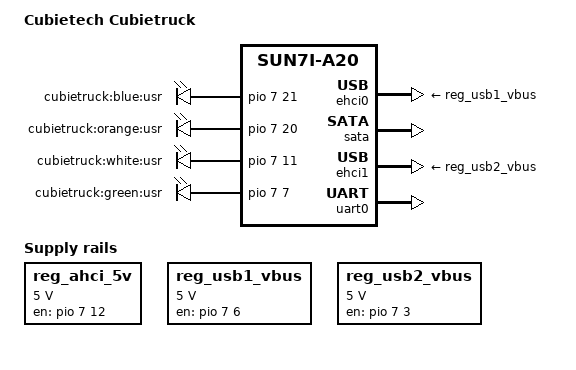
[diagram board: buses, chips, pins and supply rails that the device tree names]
/*
 * Copyright 2013 Oliver Schinagl
 *
 * Oliver Schinagl <oliver@schinagl.nl>
 *
 * The code contained herein is licensed under the GNU General Public
 * License. You may obtain a copy of the GNU General Public License
 * Version 2 or later at the following locations:
 *
 * http://www.opensource.org/licenses/gpl-license.html
 * http://www.gnu.org/copyleft/gpl.html
 */

/dts-v1/;
/include/ "sun7i-a20.dtsi"

/ {
	model = "Cubietech Cubietruck";
	compatible = "cubietech,cubietruck", "allwinner,sun7i-a20";

	soc@01c00000 {
		sdc0: sdc@01c0f000 {
			pinctrl-names = "default";
			pinctrl-0 = <&sdc0_pins_a>;
			pinctrl-1 = <&mmc0_cd_pin_cubietruck>;
			cd-gpios = <&pio 7 1 0>; /* PH1 */
			cd-mode = <1>;
			status = "okay";
		};

		ehci0: ehci0@0x01c14000 {
			vbus-supply = <&reg_usb1_vbus>;
			status = "okay";
		};

		sata: ahci@01c18000 {
			pwr-supply = <&reg_ahci_5v>;
			status = "okay";
		};

		ehci1: ehci1@0x01c1c000 {
			vbus-supply = <&reg_usb2_vbus>;
			status = "okay";
		};

		pinctrl@01c20800 {
			mmc0_cd_pin_cubietruck: mmc0_cd_pin@0 {
				allwinner,pins = "PH1";
				allwinner,function = "gpio_in";
				allwinner,drive = <0>;
				allwinner,pull = <0>;
			};

			ahci_pwr_pin_cubietruck: ahci_pwr_pin@0 {
				allwinner,pins = "PH12";
			 	allwinner,function = "gpio_out";
				allwinner,drive = <0>;
				allwinner,pull = <0>;
			};

			led_pins_cubietruck: led_pins@0 {
				allwinner,pins = "PH7", "PH11", "PH20", "PH21";
				allwinner,function = "gpio_out";
				allwinner,drive = <0>;
				allwinner,pull = <0>;
			};

			usb1_vbus_pin: usb1_vbus_pin@0 {
					allwinner,pins = "PH6";
					allwinner,function = "gpio_out";
					allwinner,drive = <0>;
					allwinner,pull = <2>;
			};

			usb2_vbus_pin: usb2_vbus_pin@0 {
					allwinner,pins = "PH3";
					allwinner,function = "gpio_out";
					allwinner,drive = <0>;
					allwinner,pull = <2>;
			};
		};

		uart0: serial@01c28000 {
			pinctrl-names = "default";
			pinctrl-0 = <&uart0_pins_a>;
			status = "okay";
		};
	};

	leds {
		compatible = "gpio-leds";
		pinctrl-names = "default";
		pinctrl-0 = <&led_pins_cubietruck>;

		blue {
			label = "cubietruck:blue:usr";
			gpios = <&pio 7 21 0>;
		};

		orange {
			label = "cubietruck:orange:usr";
			gpios = <&pio 7 20 0>;
		};

		white {
			label = "cubietruck:white:usr";
			gpios = <&pio 7 11 0>;
		};

		green {
			label = "cubietruck:green:usr";
			gpios = <&pio 7 7 0>;
		};
	};

	regulators {
		compatible = "simple-bus";
		pinctrl-names = "default";

		reg_ahci_5v: ahci-5v {
			compatible = "regulator-fixed";
			regulator-name = "ahci-5v";
			regulator-min-microvolt = <5000000>;
			regulator-max-microvolt = <5000000>;
			pinctrl-0 = <&ahci_pwr_pin_cubietruck>;
			gpio = <&pio 7 12 0>;
			enable-active-high;
		};

		reg_usb1_vbus: usb1-vbus {
			compatible = "regulator-fixed";
			pinctrl-names = "default";
			pinctrl-0 = <&usb1_vbus_pin>;
			regulator-name = "usb1-vbus";
			regulator-min-microvolt = <5000000>;
			regulator-max-microvolt = <5000000>;
			enable-active-high;
			gpio = <&pio 7 6 0>;
		};

		reg_usb2_vbus: usb2-vbus {
			compatible = "regulator-fixed";
			pinctrl-names = "default";
			pinctrl-0 = <&usb2_vbus_pin>;
			regulator-name = "usb2-vbus";
			regulator-min-microvolt = <5000000>;
			regulator-max-microvolt = <5000000>;
			enable-active-high;
			gpio = <&pio 7 3 0>;
		};
	};
};
